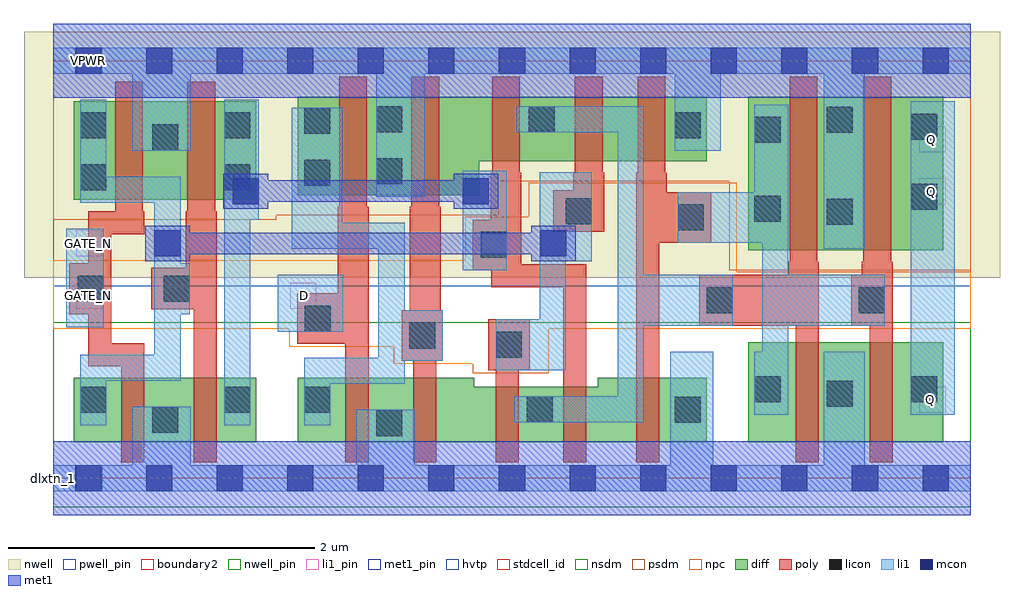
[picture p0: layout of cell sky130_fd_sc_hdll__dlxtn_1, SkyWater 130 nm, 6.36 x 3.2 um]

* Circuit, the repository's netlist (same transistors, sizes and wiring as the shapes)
* Copyright 2020 The SkyWater PDK Authors
*
* Licensed under the Apache License, Version 2.0 (the "License");
* you may not use this file except in compliance with the License.
* You may obtain a copy of the License at
*
*     https://www.apache.org/licenses/LICENSE-2.0
*
* Unless required by applicable law or agreed to in writing, software
* distributed under the License is distributed on an "AS IS" BASIS,
* WITHOUT WARRANTIES OR CONDITIONS OF ANY KIND, either express or implied.
* See the License for the specific language governing permissions and
* limitations under the License.
*
* SPDX-License-Identifier: Apache-2.0

.SUBCKT sky130_fd_sc_hdll__dlxtn_1 D GATE_N VGND VNB VPB VPWR Q
*.PININFO D:I GATE_N:I VGND:I VNB:I VPB:I VPWR:I Q:O
MI635 clkneg clkpos VPWR VPB sky130_fd_pr__pfet_01v8_hvt m=1 w=0.64U l=0.18U mult=1
+ sa=0.265 sb=0.265 sd=0.28 area=0.063 perim=1.14
MI17 M0 clkneg net53 VPB sky130_fd_pr__pfet_01v8_hvt m=1 w=0.42U l=0.18U mult=1
+ sa=0.265 sb=0.265 sd=0.28 area=0.063 perim=1.14
MI650 Q m1 VPWR VPB sky130_fd_pr__pfet_01v8_hvt m=1 w=1.0U l=0.18U mult=1 sa=0.265
+ sb=0.265 sd=0.28 area=0.063 perim=1.14
MI633 clkpos GATE_N VPWR VPB sky130_fd_pr__pfet_01v8_hvt m=1 w=0.64U l=0.18U mult=1
+ sa=0.265 sb=0.265 sd=0.28 area=0.063 perim=1.14
MI18 net53 db VPWR VPB sky130_fd_pr__pfet_01v8_hvt m=1 w=0.64U l=0.18U mult=1 sa=0.265
+ sb=0.265 sd=0.28 area=0.063 perim=1.14
MI653 net44 m1 VPWR VPB sky130_fd_pr__pfet_01v8_hvt m=1 w=0.42U l=0.18U mult=1
+ sa=0.265 sb=0.265 sd=0.28 area=0.063 perim=1.14
MI651 M0 clkpos net44 VPB sky130_fd_pr__pfet_01v8_hvt m=1 w=0.42U l=0.18U mult=1
+ sa=0.265 sb=0.265 sd=0.28 area=0.063 perim=1.14
MI655 m1 M0 VPWR VPB sky130_fd_pr__pfet_01v8_hvt m=1 w=1.0U l=0.18U mult=1 sa=0.265
+ sb=0.265 sd=0.28 area=0.063 perim=1.14
MI638 db D VPWR VPB sky130_fd_pr__pfet_01v8_hvt m=1 w=0.64U l=0.18U mult=1 sa=0.265
+ sb=0.265 sd=0.28 area=0.063 perim=1.14
MI634 clkpos GATE_N VGND VNB sky130_fd_pr__nfet_01v8 m=1 w=0.42U l=0.15U mult=1
+ sa=0.265 sb=0.265 sd=0.28 area=0.063 perim=1.14
MI649 Q m1 VGND VNB sky130_fd_pr__nfet_01v8 m=1 w=0.65U l=0.15U mult=1 sa=0.265
+ sb=0.265 sd=0.28 area=0.063 perim=1.14
MI652 M0 clkneg net96 VNB sky130_fd_pr__nfet_01v8 m=1 w=0.36U l=0.15U mult=1 sa=0.265
+ sb=0.265 sd=0.28 area=0.063 perim=1.14
MI654 net96 m1 VGND VNB sky130_fd_pr__nfet_01v8 m=1 w=0.42U l=0.15U mult=1 sa=0.265
+ sb=0.265 sd=0.28 area=0.063 perim=1.14
MI656 m1 M0 VGND VNB sky130_fd_pr__nfet_01v8 m=1 w=0.65U l=0.15U mult=1 sa=0.265
+ sb=0.265 sd=0.28 area=0.063 perim=1.14
MI636 clkneg clkpos VGND VNB sky130_fd_pr__nfet_01v8 m=1 w=0.42U l=0.15U mult=1
+ sa=0.265 sb=0.265 sd=0.28 area=0.063 perim=1.14
MI637 db D VGND VNB sky130_fd_pr__nfet_01v8 m=1 w=0.42U l=0.15U mult=1 sa=0.265
+ sb=0.265 sd=0.28 area=0.063 perim=1.14
MI19 M0 clkpos net76 VNB sky130_fd_pr__nfet_01v8 m=1 w=0.36U l=0.15U mult=1 sa=0.265
+ sb=0.265 sd=0.28 area=0.063 perim=1.14
MI20 net76 db VGND VNB sky130_fd_pr__nfet_01v8 m=1 w=0.42U l=0.15U mult=1 sa=0.265
+ sb=0.265 sd=0.28 area=0.063 perim=1.14
.ENDS sky130_fd_sc_hdll__dlxtn_1

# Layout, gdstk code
import gdstk
lib = gdstk.Library(unit=1e-6, precision=1e-09)
def R(c, l, rs):  # rectangles x0, y0, x1, y1
    for r in rs: c.add(gdstk.rectangle(r[:2], r[2:], *l))
def A(c, l, x, y, w, h, nx, ny, dx, dy):  # array of equal rectangles
    R(c, l, [(x+i*dx, y+j*dy, x+i*dx+w, y+j*dy+h) for i in range(nx) for j in range(ny)])
def P(c, l, *ps):  # polygons
    for p in ps: c.add(gdstk.Polygon(p, *l))
nwell_pin = (64, 16)
nwell = (64, 20)
diff = (65, 20)
poly = (66, 20)
licon = (66, 44)
li1_pin = (67, 16)
li1 = (67, 20)
mcon = (67, 44)
met1_pin = (68, 16)
met1 = (68, 20)
hvtp = (78, 44)
stdcell_id = (81, 4)
nsdm = (93, 44)
psdm = (94, 20)
npc = (95, 20)
pwell_pin = (122, 16)
boundary2 = (236, 0)

sky130_fd_sc_hdll__dlxtn = lib.new_cell('sky130_fd_sc_hdll__dlxtn_1')
R(sky130_fd_sc_hdll__dlxtn, nwell_pin, [(0.15,2.635,0.32,2.805)])
R(sky130_fd_sc_hdll__dlxtn, nwell, [(-0.19,1.305,6.17,2.91)])
R(sky130_fd_sc_hdll__dlxtn, diff, [(0.135,0.235,1.325,0.655), (4.53,0.235,5.8,0.885), (4.53,1.485,5.8,2.485), (0.135,1.815,1.325,2.455)])
P(sky130_fd_sc_hdll__dlxtn, diff, [(4.26,2.485),(1.595,2.485),(1.595,1.845),(2.775,1.845),(2.775,2.065),(4.26,2.065)],
  [(4.26,0.655),(3.55,0.655),(3.55,0.595),(2.745,0.595),(2.745,0.655),(1.595,0.655),(1.595,0.235),(4.26,0.235)])
P(sky130_fd_sc_hdll__dlxtn, poly, [(0.595,1.74),(0.585,1.74),(0.585,2.585),(0.405,2.585),(0.405,1.74),(0.23,1.74),(0.23,1.4),(0.105,1.4),(0.105,1.07),(0.23,1.07),(0.23,0.73),(0.445,0.73),(0.445,0.105),(0.595,0.105),(0.595,0.88),(0.38,0.88),(0.38,1.59),(0.595,1.59)],
  [(1.065,1.74),(1.055,1.74),(1.055,2.585),(0.875,2.585),(0.875,1.74),(0.865,1.74),(0.865,1.37),(0.64,1.37),(0.64,1.1),(0.915,1.1),(0.915,0.105),(1.065,0.105)],
  [(2.055,1.77),(2.045,1.77),(2.045,2.615),(1.865,2.615),(1.865,1.77),(1.855,1.77),(1.855,1.205),(1.59,1.205),(1.59,0.875),(1.905,0.875),(1.905,0.105),(2.055,0.105)],
  [(2.54,1.095),(2.525,1.095),(2.525,1.77),(2.515,1.77),(2.515,2.615),(2.335,2.615),(2.335,1.77),(2.325,1.77),(2.325,1.095),(2.27,1.095),(2.27,0.765),(2.345,0.765),(2.345,0.105),(2.495,0.105),(2.495,0.765),(2.54,0.765)],
  [(3.105,1.035),(2.835,1.035),(2.835,0.705),(2.885,0.705),(2.885,0.105),(3.035,0.105),(3.035,0.705),(3.105,0.705)],
  [(3.475,1.395),(3.05,1.395),(3.05,1.99),(3.04,1.99),(3.04,2.615),(2.86,2.615),(2.86,1.99),(2.85,1.99),(2.85,1.685),(2.735,1.685),(2.735,1.355),(2.855,1.355),(2.855,1.245),(3.325,1.245),(3.325,0.105),(3.475,0.105)],
  [(3.59,1.99),(3.58,1.99),(3.58,2.615),(3.4,2.615),(3.4,1.99),(3.39,1.99),(3.39,1.875),(3.26,1.875),(3.26,1.605),(3.59,1.605)],
  [(4.29,1.865),(4,1.865),(4,1.99),(3.99,1.99),(3.99,2.615),(3.81,2.615),(3.81,1.99),(3.8,1.99),(3.8,0.105),(3.95,0.105),(3.95,1.535),(4.29,1.535)],
  [(4.99,1.41),(4.98,1.41),(4.98,2.615),(4.8,2.615),(4.8,1.41),(4.79,1.41),(4.79,1.325),(4.21,1.325),(4.21,0.995),(4.84,0.995),(4.84,0.105),(4.99,0.105)],
  [(5.47,1.41),(5.46,1.41),(5.46,2.615),(5.28,2.615),(5.28,1.41),(5.27,1.41),(5.27,1.325),(5.2,1.325),(5.2,0.995),(5.32,0.995),(5.32,0.105),(5.47,0.105)])
R(sky130_fd_sc_hdll__dlxtn, licon, [(2.105,0.275,2.275,0.445), (0.645,0.295,0.815,0.465), (4.05,0.36,4.22,0.53), (3.085,0.365,3.255,0.535), (0.175,0.425,0.345,0.595), (1.115,0.425,1.285,0.595), (1.635,0.425,1.805,0.595), (5.04,0.465,5.21,0.635), (4.57,0.495,4.74,0.665), (5.59,0.495,5.76,0.665), (2.885,0.785,3.055,0.955), (2.32,0.845,2.49,1.015), (1.64,0.955,1.81,1.125), (4.26,1.075,4.43,1.245), (5.25,1.075,5.42,1.245), (0.16,1.15,0.33,1.32), (0.72,1.15,0.89,1.32), (2.785,1.435,2.955,1.605), (4.07,1.615,4.24,1.785), (5.04,1.65,5.21,1.82), (3.34,1.655,3.51,1.825), (4.57,1.67,4.74,1.84), (5.59,1.75,5.76,1.92), (0.175,1.875,0.345,2.045), (1.115,1.875,1.285,2.045), (1.635,1.905,1.805,2.075), (2.105,1.915,2.275,2.085), (0.645,2.135,0.815,2.305), (4.57,2.185,4.74,2.355), (5.59,2.205,5.76,2.375), (0.175,2.215,0.345,2.385), (1.115,2.215,1.285,2.385), (4.05,2.215,4.22,2.385), (1.635,2.245,1.805,2.415), (5.04,2.25,5.21,2.42), (2.105,2.255,2.275,2.425), (3.1,2.255,3.27,2.425)])
R(sky130_fd_sc_hdll__dlxtn, li1_pin, [(5.645,0.425,5.815,0.595), (0.15,1.105,0.32,1.275), (1.545,1.105,1.715,1.275), (0.15,1.445,0.32,1.615), (5.645,1.785,5.815,1.955), (5.645,2.125,5.815,2.295)])
R(sky130_fd_sc_hdll__dlxtn, li1, [(5.59,0.415,5.875,2.455), (1.465,0.955,1.89,1.325), (0.085,0.985,0.33,1.625), (2.67,1.355,2.955,2.005)])
P(sky130_fd_sc_hdll__dlxtn, li1, [(1.34,2.465),(1.115,2.465),(1.115,0.345),(1.285,0.345),(1.285,1.685),(1.34,1.685)],
  [(0.89,1.4),(0.83,1.4),(0.83,1.965),(0.345,1.965),(0.345,2.465),(0.175,2.465),(0.175,1.795),(0.66,1.795),(0.66,0.805),(0.175,0.805),(0.175,0.345),(0.345,0.345),(0.345,0.635),(0.83,0.635),(0.83,1.07),(0.89,1.07)],
  [(2.54,1.095),(2.29,1.095),(2.29,1.665),(1.885,1.665),(1.885,2.415),(1.555,2.415),(1.555,1.495),(2.12,1.495),(2.12,0.785),(1.635,0.785),(1.635,0.345),(1.805,0.345),(1.805,0.615),(2.29,0.615),(2.29,0.765),(2.54,0.765)],
  [(3.51,1.995),(3.17,1.995),(3.17,1.035),(2.885,1.035),(2.885,0.705),(3.34,0.705),(3.34,1.415),(3.51,1.415)],
  [(4.43,1.325),(3.85,1.325),(3.85,2.425),(3.02,2.425),(3.02,2.255),(3.68,2.255),(3.68,0.535),(3.005,0.535),(3.005,0.365),(3.85,0.365),(3.85,0.995),(4.43,0.995)],
  [(5.42,1.325),(4.79,1.325),(4.79,2.435),(4.57,2.435),(4.57,1.865),(4.07,1.865),(4.07,1.535),(4.62,1.535),(4.62,0.825),(4.57,0.825),(4.57,0.415),(4.79,0.415),(4.79,0.995),(5.42,0.995)],
  [(5.98,0.085),(5.29,0.085),(5.29,0.825),(5.02,0.825),(5.02,0.085),(4.3,0.085),(4.3,0.825),(4.02,0.825),(4.02,0.085),(2.355,0.085),(2.355,0.445),(1.975,0.445),(1.975,0.085),(0.895,0.085),(0.895,0.465),(0.515,0.465),(0.515,0.085),(0,0.085),(0,-0.085),(5.98,-0.085)],
  [(5.98,2.805),(0,2.805),(0,2.635),(0.515,2.635),(0.515,2.135),(0.895,2.135),(0.895,2.635),(2.105,2.635),(2.105,1.835),(2.42,1.835),(2.42,2.635),(4.05,2.635),(4.05,2.135),(4.35,2.135),(4.35,2.635),(5.02,2.635),(5.02,1.495),(5.29,1.495),(5.29,2.635),(5.98,2.635)])
A(sky130_fd_sc_hdll__dlxtn, mcon, 0.145, -0.085, 0.17, 0.17, 13, 2, 0.46, 2.72)
R(sky130_fd_sc_hdll__dlxtn, mcon, [(0.66,1.445,0.83,1.615), (3.175,1.445,3.345,1.615), (1.17,1.785,1.34,1.955), (2.67,1.785,2.84,1.955)])
R(sky130_fd_sc_hdll__dlxtn, met1_pin, [(0.15,-0.085,0.32,0.085), (0.15,2.635,0.32,2.805)])
R(sky130_fd_sc_hdll__dlxtn, met1, [(0,-0.24,5.98,0.24), (0,2.48,5.98,2.96)])
P(sky130_fd_sc_hdll__dlxtn, met1, [(3.405,1.645),(3.115,1.645),(3.115,1.6),(0.89,1.6),(0.89,1.645),(0.6,1.645),(0.6,1.415),(0.89,1.415),(0.89,1.46),(3.115,1.46),(3.115,1.415),(3.405,1.415)],
  [(2.9,1.985),(2.61,1.985),(2.61,1.94),(1.4,1.94),(1.4,1.985),(1.11,1.985),(1.11,1.755),(1.4,1.755),(1.4,1.8),(2.61,1.8),(2.61,1.755),(2.9,1.755)])
R(sky130_fd_sc_hdll__dlxtn, hvtp, [(0,1.25,5.98,2.72)])
R(sky130_fd_sc_hdll__dlxtn, stdcell_id, [(0,0,5.98,2.72)])
R(sky130_fd_sc_hdll__dlxtn, nsdm, [(0,-0.19,5.98,1.015)])
P(sky130_fd_sc_hdll__dlxtn, psdm, [(5.98,2.91),(0,2.91),(0,1.685),(1.455,1.685),(1.455,1.715),(2.905,1.715),(2.905,1.935),(4.405,1.935),(4.405,1.355),(5.98,1.355)])
P(sky130_fd_sc_hdll__dlxtn, npc, [(5.98,1.345),(4.455,1.345),(4.455,1.925),(3.1,1.925),(3.1,1.705),(2.685,1.705),(2.685,1.42),(0,1.42),(0,0.975),(1.54,0.975),(1.54,0.855),(2.22,0.855),(2.22,0.745),(2.735,0.745),(2.735,0.685),(3.23,0.685),(3.23,0.975),(5.98,0.975)])
R(sky130_fd_sc_hdll__dlxtn, pwell_pin, [(0.15,-0.085,0.32,0.085)])
R(sky130_fd_sc_hdll__dlxtn, boundary2, [(0,0,5.98,2.72)])
sky130_fd_sc_hdll__dlxtn.add(gdstk.Label('dlxtn_1', (0,0), layer=83, texttype=44))
sky130_fd_sc_hdll__dlxtn.add(gdstk.Label('VGND', (0.23,0), layer=68, texttype=5))
sky130_fd_sc_hdll__dlxtn.add(gdstk.Label('VPWR', (0.23,2.72), layer=68, texttype=5))
sky130_fd_sc_hdll__dlxtn.add(gdstk.Label('Q', (5.72,0.51), layer=67, texttype=5))
sky130_fd_sc_hdll__dlxtn.add(gdstk.Label('Q', (5.725,2.21), layer=67, texttype=5))
sky130_fd_sc_hdll__dlxtn.add(gdstk.Label('GATE_N', (0.23,1.53), layer=67, texttype=5))
sky130_fd_sc_hdll__dlxtn.add(gdstk.Label('Q', (5.725,1.87), layer=67, texttype=5))
sky130_fd_sc_hdll__dlxtn.add(gdstk.Label('GATE_N', (0.23,1.19), layer=67, texttype=5))
sky130_fd_sc_hdll__dlxtn.add(gdstk.Label('D', (1.635,1.19), layer=67, texttype=5))
sky130_fd_sc_hdll__dlxtn.add(gdstk.Label('VPB', (0.235,2.72), layer=64, texttype=5))
sky130_fd_sc_hdll__dlxtn.add(gdstk.Label('VNB', (0.235,0), layer=64, texttype=59))

lib.write_gds('sky130_fd_sc_hdll__dlxtn_1.gds')
